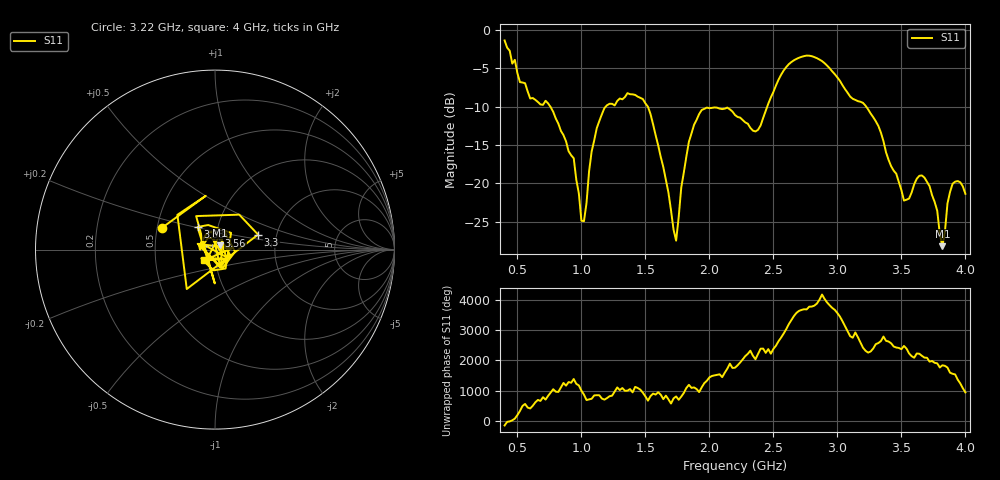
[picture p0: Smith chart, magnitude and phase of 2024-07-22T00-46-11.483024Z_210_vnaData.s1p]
!Created with skrf (http://scikit-rf.org).
# Hz S RI R 50.0
!freq ReS11 ImS11
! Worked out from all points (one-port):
!   181 points, 400 MHz to 4 GHz, reference 50 ohm
!   lowest |S11| = -28.2 dB at 3.82 GHz (marker M1), VSWR 1.08, Z = 52.9 + j2.71 ohm
!   |S11| at or under -10 dB: 757.9 MHz to 1.189 GHz (431.3 MHz wide, 44.3 % of centre); 1.52 GHz to 2.451 GHz (931.5 MHz wide, 46.9 % of centre); 3.226 GHz to end of sweep
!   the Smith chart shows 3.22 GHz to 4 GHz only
!   S11 on the Smith chart (normalised r, x): 3.22 GHz: 0.53, +0.14; 3.3 GHz: 1.60, +0.29; 3.38 GHz: 0.80, +0.21; 3.56 GHz: 1.04, +0.16; 4 GHz: 0.88, -0.11
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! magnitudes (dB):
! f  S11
! 400 MHz  -1.3
! 520 MHz  -6.8
! 860 MHz  -13.7
! 940 MHz  -16.7
! 1 GHz  -24.9
! 1.02 GHz  -24.9
! 1.08 GHz  -15.8
! 1.12 GHz  -12.8
! 1.3 GHz  -8.9
! 1.52 GHz  -10.0
! 1.74 GHz  -27.5
! 1.76 GHz  -24.4
! 1.84 GHz  -14.6
! 1.92 GHz  -10.9
! 2.2 GHz  -11.1
! 2.38 GHz  -13.0
! 2.66 GHz  -3.9
! 2.88 GHz  -4.0
! 3.1 GHz  -8.7
! 3.22 GHz  -9.9
! 3.3 GHz  -11.9
! 3.38 GHz  -16.0
! 3.56 GHz  -22.0
! 3.68 GHz  -19.3
! 3.78 GHz  -23.6
! 3.82 GHz  -28.2
! 3.9 GHz  -20.1
! 4 GHz  -21.4
